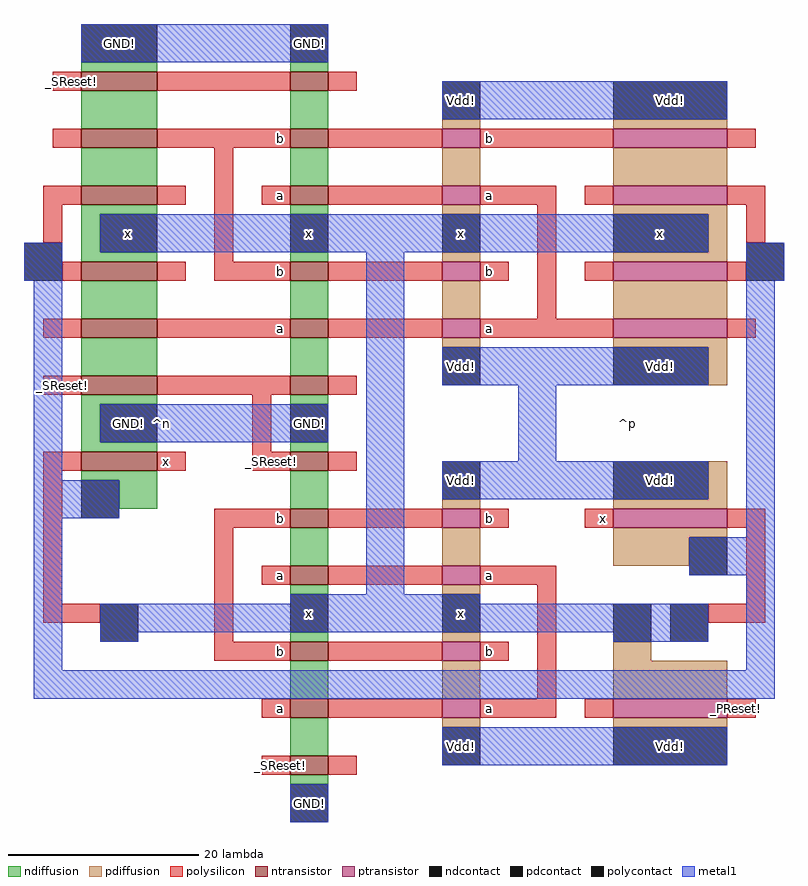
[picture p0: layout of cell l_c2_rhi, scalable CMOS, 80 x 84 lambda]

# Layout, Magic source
magic
tech scmos
<< ndiffusion >>
rect 84 54 92 55
rect 106 54 110 55
rect 84 48 92 52
rect 106 48 110 52
rect 84 42 92 46
rect 84 39 92 40
rect 84 35 86 39
rect 84 34 92 35
rect 106 42 110 46
rect 106 39 110 40
rect 106 34 110 35
rect 84 28 92 32
rect 106 28 110 32
rect 84 22 92 26
rect 106 22 110 26
rect 84 19 92 20
rect 84 15 86 19
rect 84 14 92 15
rect 106 19 110 20
rect 106 14 110 15
rect 84 11 92 12
rect 88 8 92 11
rect 106 8 110 12
rect 106 2 110 6
rect 106 -1 110 0
rect 106 -6 110 -5
rect 106 -12 110 -8
rect 106 -18 110 -14
rect 106 -21 110 -20
<< pdiffusion >>
rect 122 48 126 49
rect 140 48 152 49
rect 122 42 126 46
rect 140 42 152 46
rect 122 39 126 40
rect 122 34 126 35
rect 122 28 126 32
rect 140 39 152 40
rect 150 35 152 39
rect 140 34 152 35
rect 140 28 152 32
rect 122 25 126 26
rect 140 25 152 26
rect 150 21 152 25
rect 122 8 126 9
rect 150 9 152 13
rect 140 8 152 9
rect 122 2 126 6
rect 140 5 152 6
rect 140 2 148 5
rect 122 -1 126 0
rect 122 -6 126 -5
rect 122 -12 126 -8
rect 140 -8 144 -6
rect 140 -12 152 -8
rect 122 -15 126 -14
rect 140 -15 152 -14
<< ntransistor >>
rect 84 52 92 54
rect 106 52 110 54
rect 84 46 92 48
rect 106 46 110 48
rect 84 40 92 42
rect 106 40 110 42
rect 84 32 92 34
rect 106 32 110 34
rect 84 26 92 28
rect 106 26 110 28
rect 84 20 92 22
rect 106 20 110 22
rect 84 12 92 14
rect 106 12 110 14
rect 106 6 110 8
rect 106 0 110 2
rect 106 -8 110 -6
rect 106 -14 110 -12
rect 106 -20 110 -18
<< ptransistor >>
rect 122 46 126 48
rect 140 46 152 48
rect 122 40 126 42
rect 140 40 152 42
rect 122 32 126 34
rect 140 32 152 34
rect 122 26 126 28
rect 140 26 152 28
rect 122 6 126 8
rect 140 6 152 8
rect 122 0 126 2
rect 122 -8 126 -6
rect 122 -14 126 -12
rect 140 -14 152 -12
<< polysilicon >>
rect 81 52 84 54
rect 92 52 106 54
rect 110 52 113 54
rect 81 46 84 48
rect 92 46 106 48
rect 110 46 122 48
rect 126 46 140 48
rect 152 46 155 48
rect 80 40 84 42
rect 92 40 95 42
rect 80 36 82 40
rect 98 34 100 46
rect 103 40 106 42
rect 110 40 122 42
rect 126 40 134 42
rect 137 40 140 42
rect 152 40 156 42
rect 82 32 84 34
rect 92 32 95 34
rect 98 32 106 34
rect 110 32 122 34
rect 126 32 129 34
rect 132 28 134 40
rect 154 36 156 40
rect 137 32 140 34
rect 152 32 154 34
rect 80 26 84 28
rect 92 26 106 28
rect 110 26 122 28
rect 126 26 140 28
rect 152 26 155 28
rect 80 20 84 22
rect 92 20 106 22
rect 110 20 113 22
rect 102 14 104 20
rect 80 12 84 14
rect 92 12 95 14
rect 102 12 106 14
rect 110 12 113 14
rect 80 -2 82 12
rect 98 6 106 8
rect 110 6 122 8
rect 126 6 129 8
rect 137 6 140 8
rect 152 6 156 8
rect 80 -4 86 -2
rect 98 -6 100 6
rect 103 0 106 2
rect 110 0 122 2
rect 126 0 134 2
rect 98 -8 106 -6
rect 110 -8 122 -6
rect 126 -8 129 -6
rect 132 -12 134 0
rect 154 -2 156 6
rect 150 -4 156 -2
rect 103 -14 106 -12
rect 110 -14 122 -12
rect 126 -14 134 -12
rect 137 -14 140 -12
rect 152 -14 155 -12
rect 103 -20 106 -18
rect 110 -20 113 -18
<< ndcontact >>
rect 84 55 92 59
rect 106 55 110 59
rect 86 35 92 39
rect 106 35 110 39
rect 86 15 92 19
rect 106 15 110 19
rect 84 7 88 11
rect 106 -5 110 -1
rect 106 -25 110 -21
<< pdcontact >>
rect 122 49 126 53
rect 140 49 152 53
rect 122 35 126 39
rect 140 35 150 39
rect 122 21 126 25
rect 140 21 150 25
rect 122 9 126 13
rect 140 9 150 13
rect 148 1 152 5
rect 122 -5 126 -1
rect 140 -6 144 -2
rect 122 -19 126 -15
rect 140 -19 152 -15
<< polycontact >>
rect 78 32 82 36
rect 154 32 158 36
rect 86 -6 90 -2
rect 146 -6 150 -2
<< metal1 >>
rect 84 55 110 59
rect 122 49 152 53
rect 78 32 82 36
rect 86 35 150 39
rect 79 11 82 32
rect 86 15 110 19
rect 79 7 88 11
rect 79 -9 82 7
rect 114 -1 118 35
rect 154 32 158 36
rect 122 21 150 25
rect 130 13 134 21
rect 122 9 150 13
rect 154 5 157 32
rect 148 1 157 5
rect 106 -2 126 -1
rect 86 -5 150 -2
rect 86 -6 90 -5
rect 140 -6 150 -5
rect 154 -9 157 1
rect 79 -12 157 -9
rect 122 -19 152 -15
rect 106 -25 110 -21
<< labels >>
rlabel polysilicon 105 33 105 33 3 b
rlabel polysilicon 105 47 105 47 3 b
rlabel polysilicon 105 41 105 41 3 a
rlabel polysilicon 105 27 105 27 3 a
rlabel polysilicon 105 7 105 7 3 b
rlabel polysilicon 105 -7 105 -7 3 b
rlabel polysilicon 105 -13 105 -13 3 a
rlabel polysilicon 105 1 105 1 3 a
rlabel polysilicon 105 -19 105 -19 1 _SReset!
rlabel polysilicon 127 1 127 1 3 a
rlabel polysilicon 127 -13 127 -13 3 a
rlabel polysilicon 127 -7 127 -7 3 b
rlabel polysilicon 127 7 127 7 3 b
rlabel polysilicon 127 27 127 27 3 a
rlabel polysilicon 127 41 127 41 3 a
rlabel polysilicon 127 47 127 47 3 b
rlabel polysilicon 127 33 127 33 3 b
rlabel polysilicon 83 53 83 53 3 _SReset!
rlabel polysilicon 93 13 93 13 5 x
rlabel polysilicon 153 -13 153 -13 7 _PReset!
rlabel polysilicon 139 7 139 7 5 x
rlabel space 78 -26 107 60 7 ^n
rlabel space 125 -20 158 54 3 ^p
rlabel polysilicon 104 13 104 13 1 _SReset!
rlabel polysilicon 82 21 82 21 1 _SReset!
rlabel ndcontact 108 17 108 17 1 GND!
rlabel ndcontact 108 37 108 37 1 x
rlabel ndcontact 108 57 108 57 5 GND!
rlabel ndcontact 108 -3 108 -3 1 x
rlabel ndcontact 108 -23 108 -23 1 GND!
rlabel pdcontact 124 37 124 37 1 x
rlabel pdcontact 124 -3 124 -3 1 x
rlabel pdcontact 124 23 124 23 1 Vdd!
rlabel pdcontact 124 11 124 11 1 Vdd!
rlabel pdcontact 124 -17 124 -17 1 Vdd!
rlabel pdcontact 124 51 124 51 5 Vdd!
rlabel ndcontact 88 57 88 57 5 GND!
rlabel ndcontact 89 37 89 37 1 x
rlabel ndcontact 89 17 89 17 1 GND!
rlabel pdcontact 146 -17 146 -17 1 Vdd!
rlabel pdcontact 145 11 145 11 1 Vdd!
rlabel pdcontact 145 23 145 23 1 Vdd!
rlabel pdcontact 145 37 145 37 1 x
rlabel pdcontact 146 51 146 51 5 Vdd!
<< end >>
